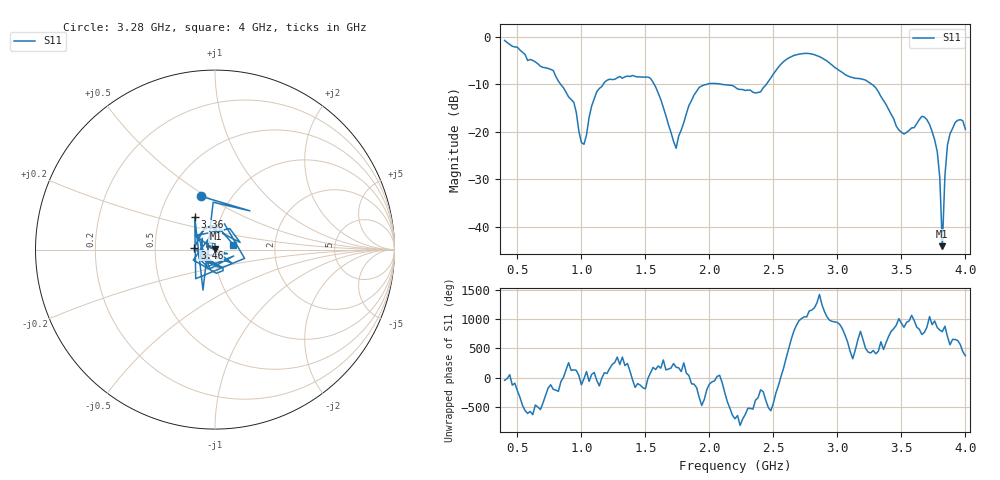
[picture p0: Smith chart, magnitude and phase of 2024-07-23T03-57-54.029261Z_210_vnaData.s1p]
!Created with skrf (http://scikit-rf.org).
# Hz S RI R 50.0
!freq ReS11 ImS11
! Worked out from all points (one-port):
!   181 points, 400 MHz to 4 GHz, reference 50 ohm
!   lowest |S11| = -44.0 dB at 3.82 GHz (marker M1), VSWR 1.01, Z = 50.3 + j0.572 ohm
!   |S11| at or under -10 dB: 1.568 GHz to 1.982 GHz (413.9 MHz wide, 23.3 % of centre); 2.094 GHz to 2.445 GHz (351.1 MHz wide, 15.5 % of centre); 3.268 GHz to end of sweep (the widest 3 of 4)
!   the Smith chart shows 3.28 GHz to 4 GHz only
!   S11 on the Smith chart (normalised r, x): 3.28 GHz: 0.72, +0.47; 3.36 GHz: 0.75, +0.28; 3.46 GHz: 0.79, +0.02; 4 GHz: 1.23, +0.07
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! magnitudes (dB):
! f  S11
! 400 MHz  -0.8
! 780 MHz  -7.1
! 860 MHz  -10.7
! 940 MHz  -13.7
! 1 GHz  -22.3
! 1.02 GHz  -22.6
! 1.12 GHz  -11.6
! 1.3 GHz  -8.3
! 1.54 GHz  -8.7
! 1.74 GHz  -23.4
! 1.76 GHz  -20.9
! 1.92 GHz  -10.7
! 2.2 GHz  -10.6
! 2.4 GHz  -11.6
! 2.66 GHz  -3.9
! 3.1 GHz  -8.5
! 3.28 GHz  -10.2
! 3.36 GHz  -13.4
! 3.46 GHz  -18.8
! 3.56 GHz  -19.7
! 3.68 GHz  -16.9
! 3.76 GHz  -21.7
! 3.8 GHz  -29.6
! 3.82 GHz  -44.0
! 3.84 GHz  -29.2
! 3.86 GHz  -22.7
! 3.92 GHz  -18.0
! 4 GHz  -19.5
